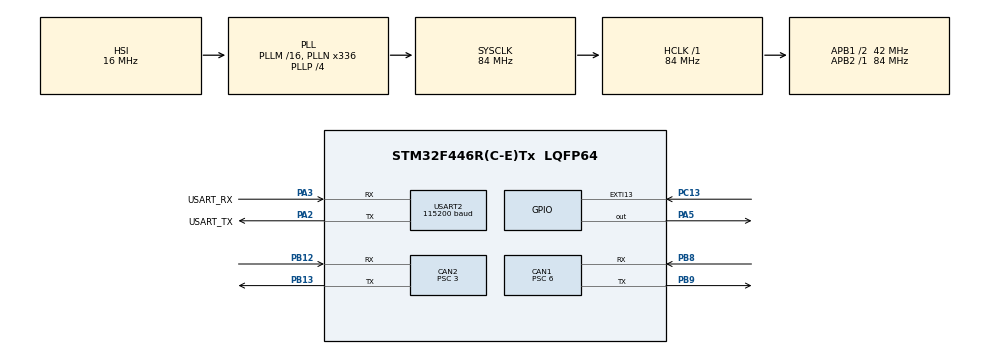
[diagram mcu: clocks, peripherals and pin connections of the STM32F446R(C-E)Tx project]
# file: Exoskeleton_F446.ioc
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CAN1.BS1=CAN_BS1_11TQ
CAN1.BS2=CAN_BS2_2TQ
CAN1.CalculateBaudRate=500000
CAN1.CalculateTimeBit=2000
CAN1.CalculateTimeQuantum=142.85714285714286
CAN1.NART=ENABLE
CAN1.Prescaler=6
CAN1.RFLM=ENABLE
CAN2.BS1=CAN_BS1_11TQ
CAN2.BS2=CAN_BS2_2TQ
CAN2.CalculateBaudRate=1000000
CAN2.CalculateTimeBit=1000
CAN2.CalculateTimeQuantum=71.42857142857143
CAN2.NART=ENABLE
CAN2.Prescaler=3
CAN2.RFLM=ENABLE
Dma.Request0=USART2_RX
Dma.Request1=USART2_TX
Dma.USART2_RX.0.Direction=DMA_PERIPH_TO_MEMORY
Dma.USART2_RX.0.FIFOMode=DMA_FIFOMODE_DISABLE
Dma.USART2_RX.0.Instance=DMA1_Stream5
Dma.USART2_RX.0.MemDataAlignment=DMA_MDATAALIGN_BYTE
Dma.USART2_RX.0.MemInc=DMA_MINC_ENABLE
Dma.USART2_RX.0.Mode=DMA_CIRCULAR
Dma.USART2_RX.0.PeriphDataAlignment=DMA_PDATAALIGN_BYTE
Dma.USART2_RX.0.PeriphInc=DMA_PINC_DISABLE
Dma.USART2_RX.0.Priority=DMA_PRIORITY_HIGH
Dma.USART2_TX.1.Direction=DMA_MEMORY_TO_PERIPH
Dma.USART2_TX.1.FIFOMode=DMA_FIFOMODE_DISABLE
Dma.USART2_TX.1.Instance=DMA1_Stream6
Dma.USART2_TX.1.MemDataAlignment=DMA_MDATAALIGN_BYTE
Dma.USART2_TX.1.MemInc=DMA_MINC_ENABLE
Dma.USART2_TX.1.Mode=DMA_NORMAL
Dma.USART2_TX.1.PeriphDataAlignment=DMA_PDATAALIGN_BYTE
Dma.USART2_TX.1.PeriphInc=DMA_PINC_DISABLE
Dma.USART2_TX.1.Priority=DMA_PRIORITY_LOW
Mcu.Family=STM32F4
Mcu.Name=STM32F446R(C-E)Tx
Mcu.Package=LQFP64
NUCLEO-F446RE.BUTTON=1
NUCLEO-F446RE.LD1=true
NVIC.CAN1_RX0_IRQn=true\:5\:0\:false\:false\:true\:true\:true\:true
NVIC.CAN1_SCE_IRQn=true\:5\:0\:false\:false\:true\:true\:true\:true
NVIC.CAN2_RX1_IRQn=true\:5\:0\:false\:false\:true\:true\:true\:true
NVIC.CAN2_SCE_IRQn=true\:5\:0\:false\:false\:true\:true\:true\:true
NVIC.DMA1_Stream5_IRQn=true\:5\:0\:false\:false\:true\:true\:true\:true
NVIC.DMA1_Stream6_IRQn=true\:5\:0\:false\:false\:true\:true\:true\:true
NVIC.EXTI15_10_IRQn=true\:10\:0\:false\:false\:true\:false\:true\:true
NVIC.PriorityGroup=NVIC_PRIORITYGROUP_4
NVIC.USART2_IRQn=true\:5\:0\:false\:false\:true\:true\:true\:true
PA13.GPIO_Label=TMS
PA13.Signal=SYS_JTMS-SWDIO
PA14.GPIO_Label=TCK
PA14.Signal=SYS_JTCK-SWCLK
PA2.GPIO_Label=USART_TX
PA2.Mode=Asynchronous
PA2.Signal=USART2_TX
PA3.GPIO_Label=USART_RX
PA3.Mode=Asynchronous
PA3.Signal=USART2_RX
PA5.Signal=GPIO_Output
PB12.Mode=CAN_Activate
PB12.Signal=CAN2_RX
PB13.Mode=CAN_Activate
PB13.Signal=CAN2_TX
PB3.GPIO_Label=SWO
PB3.Signal=SYS_JTDO-SWO
PB8.Mode=CAN_Activate
PB8.Signal=CAN1_RX
PB9.Mode=CAN_Activate
PB9.Signal=CAN1_TX
PC13.Signal=GPXTI13
PC14-OSC32_IN.Signal=RCC_OSC32_IN
PC15-OSC32_OUT.Signal=RCC_OSC32_OUT
PH0-OSC_IN.Signal=RCC_OSC_IN
PH1-OSC_OUT.Signal=RCC_OSC_OUT
ProjectManager.HeapSize=0x200
ProjectManager.StackSize=0x400
ProjectManager.TargetToolchain=CMake
RCC.AHBFreq_Value=84000000
RCC.APB1CLKDivider=RCC_HCLK_DIV2
RCC.APB1Freq_Value=42000000
RCC.APB1TimFreq_Value=84000000
RCC.APB2Freq_Value=84000000
RCC.APB2TimFreq_Value=84000000
RCC.CortexFreq_Value=84000000
RCC.FLatency-AdvancedSettings=FLASH_LATENCY_2
RCC.HCLKFreq_Value=84000000
RCC.HSE_VALUE=8000000
RCC.HSI_VALUE=16000000
RCC.LSE_VALUE=32768
RCC.PLLN=336
RCC.PLLP=RCC_PLLP_DIV4
RCC.SYSCLKFreq_VALUE=84000000
RCC.SYSCLKSource=RCC_SYSCLKSOURCE_PLLCLK
RCC.USBFreq_Value=168000000
RCC.VCOOutputFreq_Value=336000000
USART2.BaudRate=115200
USART2.VirtualMode=VM_ASYNC
VP_NUCLEO-F446RE_VS_BSP_COMMON.Mode=COMMON
board=NUCLEO-F446RE

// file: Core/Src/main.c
/* USER CODE BEGIN Header */
/**
  ******************************************************************************
  * @file           : main.c
  * @brief          : Main program body
  ******************************************************************************
  * @attention
  *
  * Copyright (c) 2026 STMicroelectronics.
  * All rights reserved.
  *
  * This software is licensed under terms that can be found in the LICENSE file
  * in the root directory of this software component.
  * If no LICENSE file comes with this software, it is provided AS-IS.
  *
  ******************************************************************************
  */
/* USER CODE END Header */
#include "main.h"

/* USER CODE BEGIN Includes */
#include "app_main.h"
#include "board_runtime.h"
#include "board_can.h"

/* USER CODE END Includes */

CAN_HandleTypeDef hcan1;
CAN_HandleTypeDef hcan2;

UART_HandleTypeDef huart2;
DMA_HandleTypeDef hdma_usart2_rx;
DMA_HandleTypeDef hdma_usart2_tx;

void SystemClock_Config(void);
static void MX_GPIO_Init(void);
static void MX_DMA_Init(void);
static void MX_USART2_UART_Init(void);
static void MX_CAN1_Init(void);
static void MX_CAN2_Init(void);

int main(void)
{

  /* MCU Configuration--------------------------------------------------------*/

  /* Reset of all peripherals, Initializes the Flash interface and the Systick. */
  HAL_Init();

  /* Configure the system clock */
  SystemClock_Config();

  /* Initialize all configured peripherals */
  MX_GPIO_Init();
  MX_DMA_Init();
  MX_USART2_UART_Init();
  MX_CAN1_Init();
  MX_CAN2_Init();

  /* Initialize leds */
  BSP_LED_Init(LED2);

  /* Initialize USER push-button, will be used to trigger an interrupt each time it's pressed.*/
  BSP_PB_Init(BUTTON_USER, BUTTON_MODE_EXTI);

  /* Infinite loop */
  /* USER CODE BEGIN WHILE */
  if (!BoardRuntime_FinalizeInterrupts()) {
    BoardRuntime_FatalBlink();
  }
  App_Init();
  while (1)
  {

    /* USER CODE END WHILE */

    /* USER CODE BEGIN 3 */
    App_Poll();
  }
  /* USER CODE END 3 */
}

void SystemClock_Config(void)
{
  RCC_OscInitTypeDef RCC_OscInitStruct = {0};
  RCC_ClkInitTypeDef RCC_ClkInitStruct = {0};

  /** Configure the main internal regulator output voltage
  */
  __HAL_RCC_PWR_CLK_ENABLE();
  __HAL_PWR_VOLTAGESCALING_CONFIG(PWR_REGULATOR_VOLTAGE_SCALE3);

  /** Initializes the RCC Oscillators according to the specified parameters
  * in the RCC_OscInitTypeDef structure.
  */
  RCC_OscInitStruct.OscillatorType = RCC_OSCILLATORTYPE_HSI;
  RCC_OscInitStruct.HSIState = RCC_HSI_ON;
  RCC_OscInitStruct.HSICalibrationValue = RCC_HSICALIBRATION_DEFAULT;
  RCC_OscInitStruct.PLL.PLLState = RCC_PLL_ON;
  RCC_OscInitStruct.PLL.PLLSource = RCC_PLLSOURCE_HSI;
  RCC_OscInitStruct.PLL.PLLM = 16;
  RCC_OscInitStruct.PLL.PLLN = 336;
  RCC_OscInitStruct.PLL.PLLP = RCC_PLLP_DIV4;
  RCC_OscInitStruct.PLL.PLLQ = 2;
  RCC_OscInitStruct.PLL.PLLR = 2;
  if (HAL_RCC_OscConfig(&RCC_OscInitStruct) != HAL_OK)
  {
    Error_Handler();
  }

  /** Initializes the CPU, AHB and APB buses clocks
  */
  RCC_ClkInitStruct.ClockType = RCC_CLOCKTYPE_HCLK|RCC_CLOCKTYPE_SYSCLK
                              |RCC_CLOCKTYPE_PCLK1|RCC_CLOCKTYPE_PCLK2;
  RCC_ClkInitStruct.SYSCLKSource = RCC_SYSCLKSOURCE_PLLCLK;
  RCC_ClkInitStruct.AHBCLKDivider = RCC_SYSCLK_DIV1;
  RCC_ClkInitStruct.APB1CLKDivider = RCC_HCLK_DIV2;
  RCC_ClkInitStruct.APB2CLKDivider = RCC_HCLK_DIV1;

  if (HAL_RCC_ClockConfig(&RCC_ClkInitStruct, FLASH_LATENCY_2) != HAL_OK)
  {
    Error_Handler();
  }
}

static void MX_CAN1_Init(void)
{

  /* USER CODE BEGIN CAN1_Init 0 */
  BoardCan_InitBegin(BOARD_CAN_SHOULDER);
  /* USER CODE END CAN1_Init 0 */

  hcan1.Instance = CAN1;
  hcan1.Init.Prescaler = 6;
  hcan1.Init.Mode = CAN_MODE_NORMAL;
  hcan1.Init.SyncJumpWidth = CAN_SJW_1TQ;
  hcan1.Init.TimeSeg1 = CAN_BS1_11TQ;
  hcan1.Init.TimeSeg2 = CAN_BS2_2TQ;
  hcan1.Init.TimeTriggeredMode = DISABLE;
  hcan1.Init.AutoBusOff = DISABLE;
  hcan1.Init.AutoWakeUp = DISABLE;
  hcan1.Init.AutoRetransmission = ENABLE;
  hcan1.Init.ReceiveFifoLocked = ENABLE;
  hcan1.Init.TransmitFifoPriority = DISABLE;
  if (HAL_CAN_Init(&hcan1) != HAL_OK)
  {
    Error_Handler();
  }
  /* USER CODE BEGIN CAN1_Init 2 */
  BoardCan_InitEnd();
  /* USER CODE END CAN1_Init 2 */

}

static void MX_CAN2_Init(void)
{

  /* USER CODE BEGIN CAN2_Init 0 */
  BoardCan_InitBegin(BOARD_CAN_ELBOW);
  /* USER CODE END CAN2_Init 0 */

  hcan2.Instance = CAN2;
  hcan2.Init.Prescaler = 3;
  hcan2.Init.Mode = CAN_MODE_NORMAL;
  hcan2.Init.SyncJumpWidth = CAN_SJW_1TQ;
  hcan2.Init.TimeSeg1 = CAN_BS1_11TQ;
  hcan2.Init.TimeSeg2 = CAN_BS2_2TQ;
  hcan2.Init.TimeTriggeredMode = DISABLE;
  hcan2.Init.AutoBusOff = DISABLE;
  hcan2.Init.AutoWakeUp = DISABLE;
  hcan2.Init.AutoRetransmission = ENABLE;
  hcan2.Init.ReceiveFifoLocked = ENABLE;
  hcan2.Init.TransmitFifoPriority = DISABLE;
  if (HAL_CAN_Init(&hcan2) != HAL_OK)
  {
    Error_Handler();
  }
  /* USER CODE BEGIN CAN2_Init 2 */
  BoardCan_InitEnd();
  /* USER CODE END CAN2_Init 2 */

}

static void MX_USART2_UART_Init(void)
{

  huart2.Instance = USART2;
  huart2.Init.BaudRate = 115200;
  huart2.Init.WordLength = UART_WORDLENGTH_8B;
  huart2.Init.StopBits = UART_STOPBITS_1;
  huart2.Init.Parity = UART_PARITY_NONE;
  huart2.Init.Mode = UART_MODE_TX_RX;
  huart2.Init.HwFlowCtl = UART_HWCONTROL_NONE;
  huart2.Init.OverSampling = UART_OVERSAMPLING_16;
  if (HAL_UART_Init(&huart2) != HAL_OK)
  {
    Error_Handler();
  }

}

static void MX_DMA_Init(void)
{

  /* DMA controller clock enable */
  __HAL_RCC_DMA1_CLK_ENABLE();

  /* DMA interrupt init */
  /* DMA1_Stream5_IRQn interrupt configuration */
  HAL_NVIC_SetPriority(DMA1_Stream5_IRQn, 5, 0);
  HAL_NVIC_EnableIRQ(DMA1_Stream5_IRQn);
  /* DMA1_Stream6_IRQn interrupt configuration */
  HAL_NVIC_SetPriority(DMA1_Stream6_IRQn, 5, 0);
  HAL_NVIC_EnableIRQ(DMA1_Stream6_IRQn);

}

static void MX_GPIO_Init(void)
{

  /* GPIO Ports Clock Enable */
  __HAL_RCC_GPIOC_CLK_ENABLE();
  __HAL_RCC_GPIOH_CLK_ENABLE();
  __HAL_RCC_GPIOA_CLK_ENABLE();
  __HAL_RCC_GPIOB_CLK_ENABLE();

  /* USER CODE BEGIN MX_GPIO_Init_2 */
  /* HX711 (registry MCU-01.LR04, 3.3 V direct): PD_SCK high >60 us powers the
   * chip down, so PC3 is latched low before it becomes an output. DOUT on PC2
   * has no internal pull, per the HX711 datasheet. */
  HAL_GPIO_WritePin(GPIOC, GPIO_PIN_3, GPIO_PIN_RESET);
  GPIO_InitTypeDef hx711 = {0};
  hx711.Pin = GPIO_PIN_3;
  hx711.Mode = GPIO_MODE_OUTPUT_PP;
  hx711.Pull = GPIO_NOPULL;
  hx711.Speed = GPIO_SPEED_FREQ_LOW;
  HAL_GPIO_Init(GPIOC, &hx711);
  hx711.Pin = GPIO_PIN_2;
  hx711.Mode = GPIO_MODE_INPUT;
  HAL_GPIO_Init(GPIOC, &hx711);
  /* USER CODE END MX_GPIO_Init_2 */
}

void Error_Handler(void)
{
  /* USER CODE BEGIN Error_Handler_Debug */
  /* CAN init errors are observable over UART; other fatal errors still halt. */
  if (BoardCan_HandleInitFailure()) { return; }
  /* User can add his own implementation to report the HAL error return state */
  __disable_irq();
  while (1)
  {
  }
  /* USER CODE END Error_Handler_Debug */
}
